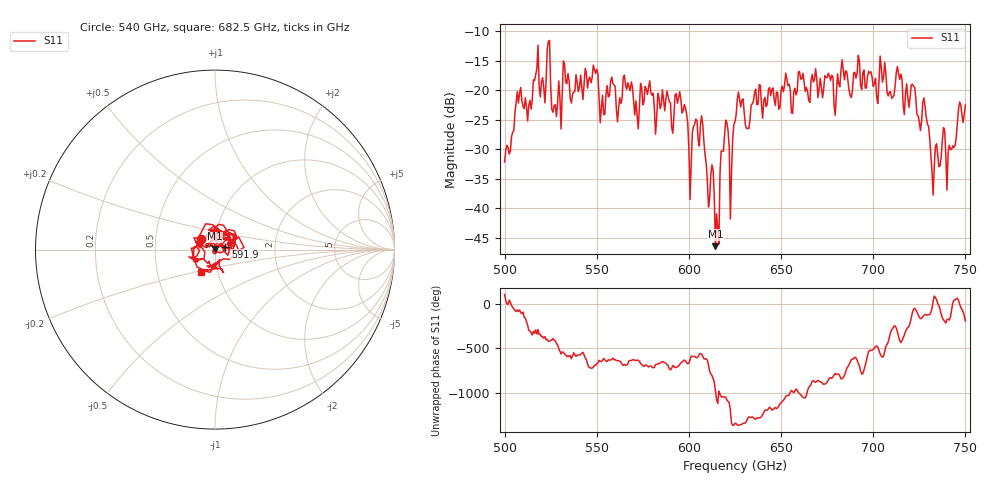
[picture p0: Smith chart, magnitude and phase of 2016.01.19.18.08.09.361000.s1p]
!Created with skrf (http://scikit-rf.org).
# GHz S RI R 50.0
!freq ReS11 ImS11
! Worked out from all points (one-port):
!   401 points, 500 GHz to 750 GHz, reference 50 ohm
!   lowest |S11| = -46.5 dB at 614.4 GHz (marker M1), VSWR 1.01, Z = 49.9 + j0.462 ohm
!   |S11| at or under -10 dB: start of sweep to end of sweep
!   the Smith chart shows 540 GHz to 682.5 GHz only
!   S11 on the Smith chart (normalised r, x): 540 GHz: 0.85, +0.10; 591.9 GHz: 1.12, +0.04; 682.5 GHz: 0.83, -0.21
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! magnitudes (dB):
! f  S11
! 500 GHz  -32.2
! 516.9 GHz  -17.3
! 520.6 GHz  -17.9
! 523.8 GHz  -11.8
! 526.9 GHz  -22.6
! 531.2 GHz  -20.8
! 540 GHz  -20.3
! 562.5 GHz  -21.3
! 565.6 GHz  -19.2
! 571.9 GHz  -24.3
! 577.5 GHz  -20.7
! 591.9 GHz  -24.3
! 593.8 GHz  -22.2
! 600.6 GHz  -38.5
! 607.5 GHz  -25.8
! 614.4 GHz  -46.5
! 615.6 GHz  -43.3
! 619.4 GHz  -27.4
! 623.1 GHz  -33.8
! 625 GHz  -25.4
! 656.2 GHz  -24.0
! 682.5 GHz  -16.6
! 687.5 GHz  -20.9
! 705 GHz  -18.7
! 718.8 GHz  -21.2
! 728.1 GHz  -22.8
! 732.5 GHz  -37.8
! 750 GHz  -22.6
